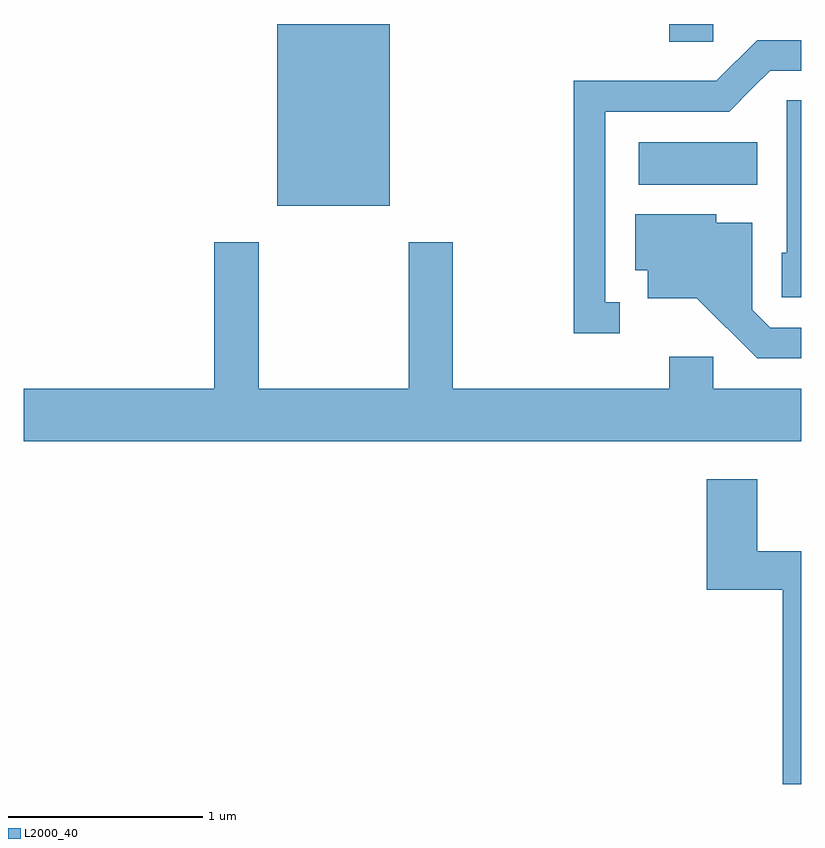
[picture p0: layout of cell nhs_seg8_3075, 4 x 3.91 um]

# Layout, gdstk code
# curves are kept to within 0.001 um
import gdstk
lib = gdstk.Library(unit=1e-6, precision=1e-09)
def R(c, l, rs):  # rectangles x0, y0, x1, y1
    for r in rs: c.add(gdstk.rectangle(r[:2], r[2:], *l))
def P(c, l, *ps):  # polygons
    for p in ps: c.add(gdstk.Polygon(p, *l))
L2000_40 = (2000, 40)

nhs_seg8_3075 = lib.new_cell('nhs_seg8_3075')
R(nhs_seg8_3075, L2000_40, [(278.916,1835.406,279.494,1836.342), (280.776,1835.516,281.384,1835.734), (280.931,1836.251,281.159,1836.342)])
P(nhs_seg8_3075, L2000_40, [(280.678,1834.909),(280.604,1834.909),(280.604,1835.891),(281.242,1835.891),(281.452,1836.101),(281.611,1836.101),(281.611,1836.259),(281.384,1836.259),(281.174,1836.049),(280.441,1836.049),(280.441,1834.751),(280.678,1834.751)],
  [(281.611,1835.949),(281.536,1835.949),(281.536,1835.164),(281.511,1835.164),(281.511,1834.936),(281.611,1834.936)],
  [(281.611,1834.779),(281.452,1834.779),(281.359,1834.872),(281.359,1835.319),(281.174,1835.319),(281.174,1835.364),(280.756,1835.364),(280.756,1835.076),(280.821,1835.076),(280.821,1834.931),(281.074,1834.931),(281.384,1834.621),(281.611,1834.621)],
  [(281.611,1834.464),(281.159,1834.464),(281.159,1834.629),(280.931,1834.629),(280.931,1834.464),(279.819,1834.464),(279.819,1835.219),(279.591,1835.219),(279.591,1834.464),(278.819,1834.464),(278.819,1835.219),(278.591,1835.219),(278.591,1834.464),(277.611,1834.464),(277.611,1834.196),(281.611,1834.196)],
  [(281.611,1833.629),(281.384,1833.629),(281.384,1833.999),(281.126,1833.999),(281.126,1833.431),(281.516,1833.431),(281.516,1832.431),(281.611,1832.431)])

lib.write_gds('nhs_seg8_3075.gds')
